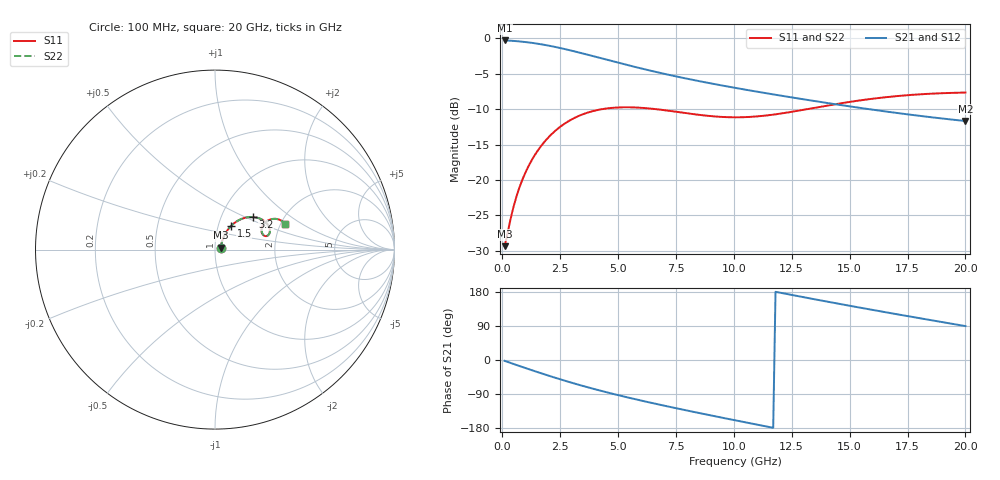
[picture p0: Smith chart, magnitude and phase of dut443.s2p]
! Touchstone file exported from HFSS 2024.1.0
!  File:  C:/UserFiles/LocalFiles/RDL_TSV_Batchsim/temp_RDL_TSV_443_1779722887.aedt
!  Generated:  11:48:01 PM May 25, 2026
!  Design:  RDL_TSV
!  Project:  temp_RDL_TSV_443_1779722887
!  Setup:  Setup1
!  Solution:  Sweep
! Variables:
!  dtsv = 5.45um
!  hbump = 3um
!  htsv = 97.17um
!  ldown = 538.42um
!  lrdl = 560.65um
!  p = 40
!  p1 = 47.79um
!  rhole = 10um
!  subl = 3857.86um
!  t = 450um
!  tdown = 3.08um
!  trdl = 2.65um
!  viad = 10um
!  wdown = 15.4um
!  wrdl = 16.1um
!  xbump = 18um
# GHz S MA R 50.000000
! Terminal data exported
! Port[1] = TM1_1_T1
! Port[2] = TM1_4_T1
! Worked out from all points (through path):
!   200 points, 100 MHz to 20 GHz, reference 50 ohm
!   highest |S21| = -0.28 dB at 100 MHz (marker M1); lowest = -11.7 dB at 20 GHz (marker M2)
!   group delay of S21, straight-line fit = 35.9 ps
!   lowest |S11| = -29.4 dB at 100 MHz (marker M3), VSWR 1.07, Z = 53.3 + j1.17 ohm
!   |S11| at or under -10 dB: start of sweep to 4.305 GHz; 6.646 GHz to 13.16 GHz (6.511 GHz wide, 65.8 % of centre)
!   |S22| runs from -29.4 to -7.6 dB; largest |S21 - S12| = 7.8e-15
!   S11 on the Smith chart (normalised r, x): 100 MHz: 1.07, +0.02; 1.5 GHz: 1.15, +0.31; 3.2 GHz: 1.41, +0.55; 20 GHz: 2.10, +0.72
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0.1  0.034 18.8  0.9679 -2.2  0.9679 -2.2  0.034 18.8
! Gamma 0 0 0 0
! Port Impedance 50 0 50 0
0.4  0.05671 47.7  0.9628 -8.7  0.9628 -8.7  0.0567 47.7
0.7  0.08459 55.3  0.9543 -15.0  0.9543 -15.0  0.08458 55.4
1.1  0.122 57.3  0.9392 -23.3  0.9392 -23.3  0.122 57.3
1.5  0.1583 55.9  0.9197 -31.5  0.9197 -31.5  0.1583 56.0
1.9  0.1924 53.0  0.8963 -39.4  0.8963 -39.4  0.1924 53.1
2.3  0.2233 49.5  0.8699 -47.1  0.8699 -47.1  0.2234 49.5
2.7  0.2505 45.6  0.8414 -54.6  0.8414 -54.6  0.2506 45.7
3.2  0.2784 40.6  0.8041 -63.6  0.8041 -63.6  0.2786 40.7
3.5  0.2918 37.7  0.7815 -68.8  0.7815 -68.8  0.2921 37.8
4.2  0.314 31.3  0.7297 -80.3  0.7297 -80.3  0.3144 31.4
5.1  0.3257 24.3  0.6679 -94.2  0.6679 -94.2  0.3263 24.4
5.9  0.3242 19.6  0.6192 -105.7  0.6192 -105.7  0.325 19.7
6.8  0.3141 16.1  0.5716 -118.0  0.5716 -118.0  0.3152 16.3
8.4  0.2897 15.1  0.5029 -138.7  0.5029 -138.7  0.2911 15.1
10.1  0.277 19.7  0.446 -159.7  0.446 -159.7  0.2785 19.7
11.6  0.2879 25.1  0.4048 -177.7  0.4048 -177.7  0.2893 25.0
13.4  0.3214 28.6  0.3628 161.2  0.3628 161.2  0.3225 28.4
15  0.3559 28.4  0.331 143.1  0.331 143.1  0.3568 28.3
16.7  0.3864 26.1  0.3024 124.4  0.3024 124.4  0.3871 26.0
18.3  0.4051 23.2  0.2801 107.4  0.2801 107.4  0.4058 23.1
20  0.4143 20.1  0.2609 89.5  0.2609 89.5  0.415 20.0
